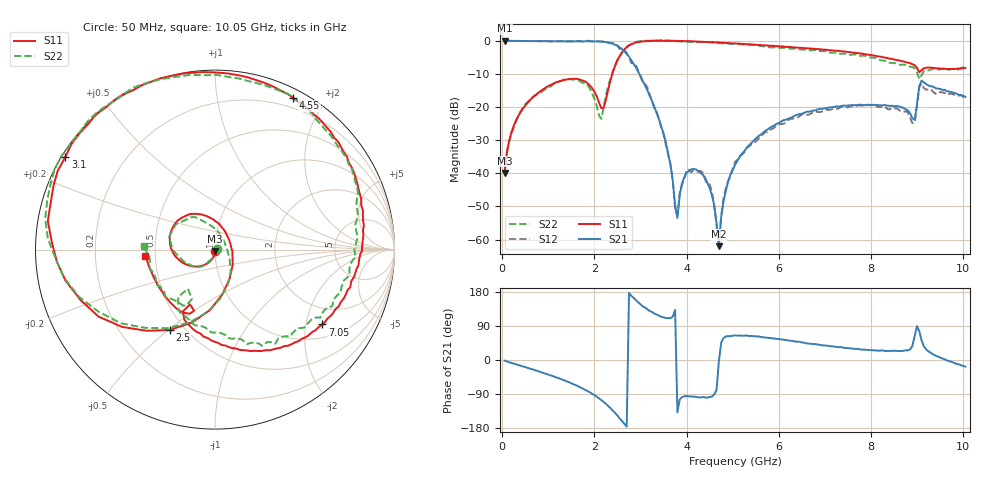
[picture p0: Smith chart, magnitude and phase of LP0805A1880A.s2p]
! AVX THIN FILM OPERATION
! 0805 Size Low Pass Filter P/N  LP0805A1880AWTR
! Network Analyzer HP8720ES.07.64: Feb 23, 2000 Serial No. US39172382
! Hewlett-Packard
!  2 Feb 2003  04:11:01
! Frequency  S11  S21  S12  S22
# HZ  S  DB R  50
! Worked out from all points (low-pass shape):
!   201 points, 50 MHz to 10.05 GHz, reference 50 ohm
!   highest |S21| = 0.00 dB at 50 MHz (marker M1); lowest = -62.0 dB at 4.7 GHz (marker M2)
!   |S21| within 3 dB of the highest: start of sweep to 2.637 GHz
!   lowest |S11| = -39.9 dB at 50 MHz (marker M3), VSWR 1.02, Z = 50.1 - j1.01 ohm
!   |S11| at or under -10 dB: start of sweep to 2.388 GHz
!   |S22| runs from -40.1 to 0.1 dB; largest |S21 - S12| = 0.061
!   S11 on the Smith chart (normalised r, x): 50 MHz: 1.00, -0.02; 2.5 GHz: 0.42, -0.51; 3.1 GHz: 0.01, +0.28; 4.55 GHz: 0.09, +1.64; 7.05 GHz: 1.40, -2.48; 10.05 GHz: 0.44, -0.03
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5e7  -39.93 -85.3  -0.00 -2.0  0.02 -2.1  -40.09 14.3
2e8  -27.57 -102.0  -0.04 -7.7  -0.03 -7.7  -27.93 -104.0
5e8  -19.54 -125.5  -0.09 -18.9  -0.07 -19.1  -19.11 -125.7
1.75e9  -12.04 131.6  -0.19 -75.5  -0.28 -75.7  -12.71 133.7
2.15e9  -20.39 33.1  -0.25 -105.8  -0.25 -106.2  -23.56 5.9
2.5e9  -5.79 -119.2  -1.47 -146.5  -1.58 -150.4  -5.86 -120.8
2.75e9  -1.40 -168.3  -4.77 177.0  -5.05 171.1  -1.36 -169.5
3.1e9  -0.17 148.3  -13.60 138.2  -13.06 141.3  0.01 148.7
3.4e9  0.04 123.8  -23.75 116.7  -23.58 112.5  0.01 123.4
3.8e9  -0.03 99.2  -53.50 -138.0  -52.71 -132.6  -0.15 98.5
3.9e9  -0.08 93.8  -43.05 -97.8  -43.40 -102.4  -0.24 92.7
4.1e9  -0.17 83.7  -38.80 -96.3  -39.68 -100.5  -0.33 81.8
4.55e9  -0.44 62.7  -46.74 -96.6  -45.51 -101.0  -0.48 60.6
4.7e9  -0.55 56.1  -62.01 -3.4  -61.57 -8.4  -0.63 54.1
4.8e9  -0.60 51.8  -48.48 57.4  -47.62 56.8  -0.79 49.7
5.05e9  -0.80 41.2  -37.50 64.8  -36.62 62.0  -0.96 38.4
6.75e9  -2.40 -24.6  -21.06 42.0  -21.64 42.2  -2.79 -25.3
7.05e9  -2.75 -34.9  -20.29 37.8  -20.88 36.8  -3.36 -33.8
8.4e9  -5.40 -83.8  -19.67 24.0  -20.80 20.5  -6.64 -86.1
8.95e9  -7.42 -113.7  -23.85 64.0  -24.69 62.7  -8.32 -122.8
9.1e9  -8.88 -108.9  -12.06 51.4  -12.89 40.5  -10.38 -115.1
1.005e10  -8.19 -175.1  -16.99 -17.4  -17.09 -14.1  -8.03 177.0
